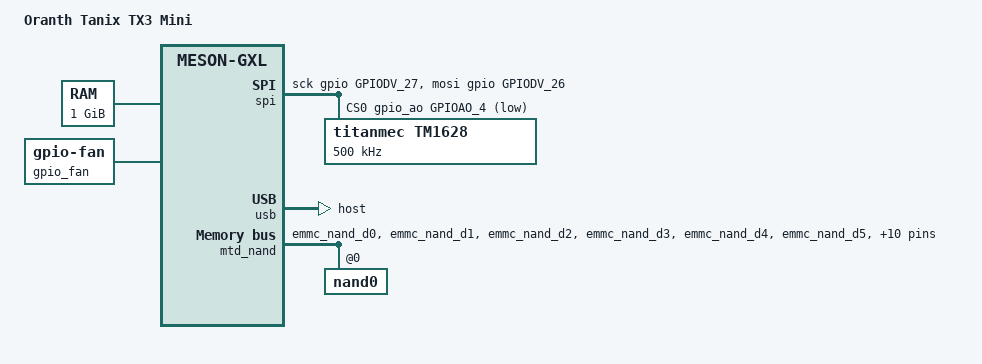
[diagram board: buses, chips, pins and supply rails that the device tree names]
// SPDX-License-Identifier: (GPL-2.0+ OR MIT)
/*
 * Copyright (c) 2018 Martin Blumenstingl <martin.blumenstingl@googlemail.com>.
 * Based on meson-gxl-s905d-p231.dts:
 * - Copyright (c) 2016 Endless Computers, Inc.
 *   Author: Carlo Caione <carlo@endlessm.com>
 */

/dts-v1/;

#include "meson-gxl-s905x.dtsi"
#include "meson-gx-p23x-q20x.dtsi"
#include <dt-bindings/leds/common.h>
#include <dt-bindings/thermal/thermal.h>

/ {
	compatible = "oranth,tx3-mini", "amlogic,s905w", "amlogic,meson-gxl";
	model = "Oranth Tanix TX3 Mini";

	memory@0 {
		device_type = "memory";
		reg = <0x0 0x0 0x0 0x40000000>; /* 1 GiB or 2 GiB */
	};

	thermal-zones {
		cpu-thermal {
			polling-delay-passive = <250>; /* milliseconds */
			polling-delay = <1000>; /* milliseconds */

			thermal-sensors = <&scpi_sensors 0>;

			trips {
				cpu_alert0: cpu-alert0 {
					temperature = <70000>; /* millicelsius */
					hysteresis = <2000>; /* millicelsius */
					type = "active";
				};

				cpu_alert1: cpu-alert1 {
					temperature = <80000>; /* millicelsius */
					hysteresis = <2000>; /* millicelsius */
					type = "passive";
				};
			};

			cooling-maps {
				map0 {
					trip = <&cpu_alert0>;
					cooling-device = <&gpio_fan THERMAL_NO_LIMIT 1>;
				};

				map1 {
					trip = <&cpu_alert1>;
					cooling-device = <&gpio_fan THERMAL_NO_LIMIT 1>;
				};
			};
		};
	};

	gpio_fan: gpio-fan {
		compatible = "gpio-fan";
		/* Dummy RPM values since fan is optional */
		gpio-fan,speed-map = <0 0
				      1 1
				      2 2
				      3 3>;
		#cooling-cells = <2>;
	};

	spi {
		compatible = "spi-gpio";
		sck-gpios = <&gpio GPIODV_27  GPIO_ACTIVE_HIGH>;
		mosi-gpios = <&gpio GPIODV_26 GPIO_ACTIVE_HIGH>;
		cs-gpios = <&gpio_ao GPIOAO_4 GPIO_ACTIVE_LOW>;
		num-chipselects = <1>;
		#address-cells = <1>;
		#size-cells = <0>;

		tm1628: led-controller@0 {
			compatible = "titanmec,tm1628";
			reg = <0>;
			spi-3wire;
			spi-lsb-first;
			spi-rx-delay-us = <1>;
			spi-max-frequency = <500000>;
			#address-cells = <2>;
			#size-cells = <0>;

			titanmec,segment-mapping = /bits/ 8 <4 5 6 1 2 3 7>;
			titanmec,grid = /bits/ 8 <4 3 2 1>;

			alarm@5,1 {
				reg = <5 1>;
				function = LED_FUNCTION_ALARM;
			};

			usb@5,2 {
				reg = <5 2>;
				function = LED_FUNCTION_USB;
			};
			play@5,3 {
				reg = <5 3>;
				function = "play";
			};

			pause@5,4 {
				reg = <5 4>;
				function = "pause";
			};

			colon@5,5 {
				reg = <5 5>;
				function = "colon";
			};

			lan@5,6 {
				reg = <5 6>;
				function = LED_FUNCTION_LAN;
			};

			wlan@5,7 {
				reg = <5 7>;
				function = LED_FUNCTION_WLAN;
			};
		};
	};
	
	openvfd {
		compatible = "open,vfd";
		dev_name = "openvfd";
		status = "okay";
	};
};

&usb {
	dr_mode = "host";
};

&sd_emmc_c {
	status = "disabled";
};

&pinctrl_periphs {
	nand_pins: nand_pins {
		mux {
			groups = "emmc_nand_d0",
				"emmc_nand_d1",
				"emmc_nand_d2",
				"emmc_nand_d3",
				"emmc_nand_d4",
				"emmc_nand_d5",
				"emmc_nand_d6",
				"emmc_nand_d7",
				"nand_ce0",
				"nand_ce1",
				"nand_rb0",
				"nand_ale",
				"nand_cle",
				"nand_wen_clk",
				"nand_ren_wr",
				"nand_dqs";
			function = "nand";
		};
	};
};

&apb {
	mtd_nand: nand@74800 {
		compatible = "amlogic,meson-gxl-nfc";
		reg = <0x0 0x74800 0x0 0x100>, <0x0 0x74000 0x0 0x800>;
		reg-name = "nfc", "emmc";
		#address-cells = <1>;
		#size-cells = <0>;
		interrupts = <GIC_SPI 34 IRQ_TYPE_EDGE_RISING>;
		status = "okay";
		clocks = <&clkc CLKID_SD_EMMC_C>, <&clkc CLKID_SD_EMMC_C_CLK0>, <&clkc CLKID_FCLK_DIV2>;
		clock-names = "core", "clkin0", "clkin1";

		pinctrl-names = "default";
		pinctrl-0 = <&nand_pins>;

		nand0@0 {
			reg = <0>;
			#address-cells = <1>;
			#size-cells = <1>;

			nand-on-flash-bbt;
			nand-ecc-mode = "hw";
			nand-ecc-strength = <8>;
			nand-ecc-step-size = <1024>;

			meson-nand-user-mode = <2>;
			meson-nand-ran-mode = <1>;

			boot@0 {
				label = "boot";
				reg = <0x00000000 0x00200000>;
				read-only;
			};

			env@200000 {
				label = "env";
				reg = <0x00200000 0x00400000>;
			};

			system@600000 {
				label = "system";
				reg = <0x00600000 0x00a00000>;
			};

			rootfs@1000000 {
				label = "rootfs";
				reg = <0x01000000 0x03000000>;
			};

			media@4000000 {
				label = "media";
				reg = <0x04000000 0x8000000>;
			};
		};
	};
};
